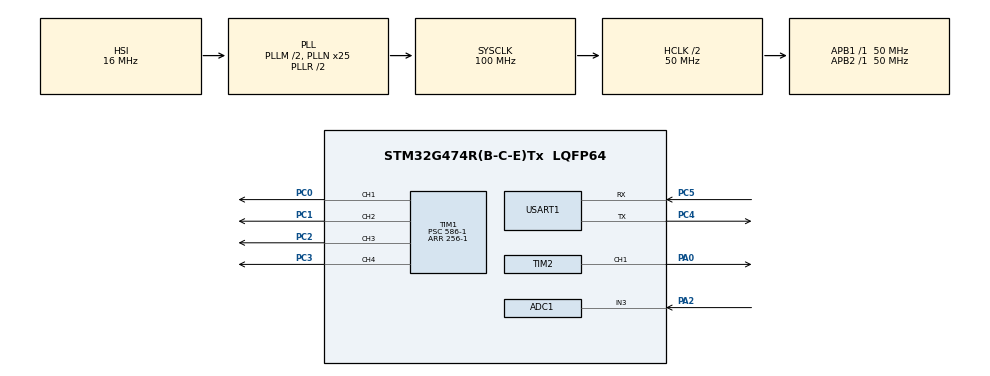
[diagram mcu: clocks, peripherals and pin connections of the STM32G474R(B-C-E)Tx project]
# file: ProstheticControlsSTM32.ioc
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ADC1.Channel-1\#ChannelRegularConversion=ADC_CHANNEL_3
ADC1.ClockPrescaler=ADC_CLOCK_ASYNC_DIV256
ADC1.ContinuousConvMode=ENABLE
ADC1.DMAContinuousRequests=ENABLE
ADC1.NbrOfConversionFlag=1
ADC1.OffsetNumber-1\#ChannelRegularConversion=ADC_OFFSET_NONE
ADC1.Rank-1\#ChannelRegularConversion=1
ADC1.SamplingTime-1\#ChannelRegularConversion=ADC_SAMPLETIME_92CYCLES_5
ADC1.master=1
Dma.ADC1.1.Direction=DMA_PERIPH_TO_MEMORY
Dma.ADC1.1.EventEnable=DISABLE
Dma.ADC1.1.Instance=DMA1_Channel2
Dma.ADC1.1.MemDataAlignment=DMA_MDATAALIGN_HALFWORD
Dma.ADC1.1.MemInc=DMA_MINC_ENABLE
Dma.ADC1.1.Mode=DMA_CIRCULAR
Dma.ADC1.1.PeriphDataAlignment=DMA_PDATAALIGN_HALFWORD
Dma.ADC1.1.PeriphInc=DMA_PINC_DISABLE
Dma.ADC1.1.Polarity=HAL_DMAMUX_REQ_GEN_RISING
Dma.ADC1.1.Priority=DMA_PRIORITY_LOW
Dma.ADC1.1.RequestNumber=1
Dma.ADC1.1.SignalID=NONE
Dma.ADC1.1.SyncEnable=DISABLE
Dma.ADC1.1.SyncPolarity=HAL_DMAMUX_SYNC_NO_EVENT
Dma.ADC1.1.SyncRequestNumber=1
Dma.ADC1.1.SyncSignalID=NONE
Dma.Request0=USART1_RX
Dma.Request1=ADC1
Dma.USART1_RX.0.Direction=DMA_PERIPH_TO_MEMORY
Dma.USART1_RX.0.EventEnable=DISABLE
Dma.USART1_RX.0.Instance=DMA1_Channel3
Dma.USART1_RX.0.MemDataAlignment=DMA_MDATAALIGN_BYTE
Dma.USART1_RX.0.MemInc=DMA_MINC_ENABLE
Dma.USART1_RX.0.Mode=DMA_CIRCULAR
Dma.USART1_RX.0.PeriphDataAlignment=DMA_PDATAALIGN_BYTE
Dma.USART1_RX.0.PeriphInc=DMA_PINC_DISABLE
Dma.USART1_RX.0.Polarity=HAL_DMAMUX_REQ_GEN_RISING
Dma.USART1_RX.0.Priority=DMA_PRIORITY_LOW
Dma.USART1_RX.0.RequestNumber=1
Dma.USART1_RX.0.SignalID=NONE
Dma.USART1_RX.0.SyncEnable=DISABLE
Dma.USART1_RX.0.SyncPolarity=HAL_DMAMUX_SYNC_NO_EVENT
Dma.USART1_RX.0.SyncRequestNumber=1
Dma.USART1_RX.0.SyncSignalID=NONE
FREERTOS.Tasks01=defaultTask,24,1024,StartDefaultTask,Default,NULL,Dynamic,NULL,NULL;RecvTask,24,1024,StartRecvTask,Default,NULL,Dynamic,NULL,NULL
FREERTOS.configTOTAL_HEAP_SIZE=10000
Mcu.Family=STM32G4
Mcu.Name=STM32G474R(B-C-E)Tx
Mcu.Package=LQFP64
NVIC.DMA1_Channel2_IRQn=true\:5\:0\:false\:false\:true\:true\:false\:true\:true
NVIC.DMA1_Channel3_IRQn=true\:5\:0\:false\:false\:true\:false\:false\:true\:true
NVIC.PriorityGroup=NVIC_PRIORITYGROUP_4
NVIC.TIM5_IRQn=true\:0\:0\:false\:false\:true\:false\:false\:true\:true
NVIC.TimeBase=TIM5_IRQn
NVIC.TimeBaseIP=TIM5
NVIC.USART1_IRQn=true\:5\:0\:false\:true\:true\:1\:true\:true\:true\:true
PA0.Signal=S_TIM2_CH1
PA2.Mode=IN3-Single-Ended
PA2.Signal=ADC1_IN3
PC0.Signal=S_TIM1_CH1
PC1.Signal=S_TIM1_CH2
PC2.Signal=S_TIM1_CH3
PC3.Signal=S_TIM1_CH4
PC4.GPIO_PuPd=GPIO_NOPULL
PC4.GPIO_Speed=GPIO_SPEED_FREQ_HIGH
PC4.Mode=Asynchronous
PC4.Signal=USART1_TX
PC5.GPIO_PuPd=GPIO_PULLUP
PC5.GPIO_Speed=GPIO_SPEED_FREQ_HIGH
PC5.Mode=Asynchronous
PC5.Signal=USART1_RX
ProjectManager.HeapSize=0x200
ProjectManager.StackSize=0x400
ProjectManager.TargetToolchain=STM32CubeIDE
RCC.ADC12Freq_Value=100000000
RCC.ADC345Freq_Value=100000000
RCC.AHBCLKDivider=RCC_SYSCLK_DIV2
RCC.AHBFreq_Value=50000000
RCC.APB1Freq_Value=50000000
RCC.APB1TimFreq_Value=50000000
RCC.APB2Freq_Value=50000000
RCC.APB2TimFreq_Value=50000000
RCC.CK48CLockSelection=RCC_USBCLKSOURCE_HSI48
RCC.CortexFreq_Value=50000000
RCC.EXTERNAL_CLOCK_VALUE=12288000
RCC.HCLKFreq_Value=50000000
RCC.HSE_VALUE=8000000
RCC.HSI48_VALUE=48000000
RCC.HSI_VALUE=16000000
RCC.LSE_VALUE=32768
RCC.PLLM=RCC_PLLM_DIV2
RCC.PLLN=25
RCC.PLLP=RCC_PLLP_DIV8
RCC.PLLQ=RCC_PLLQ_DIV8
RCC.SYSCLKFreq_VALUE=100000000
RCC.SYSCLKSource=RCC_SYSCLKSOURCE_PLLCLK
RCC.USBFreq_Value=48000000
RCC.VCOOutputFreq_Value=200000000
SH.S_TIM1_CH1.0=TIM1_CH1,PWM Generation1 CH1
SH.S_TIM1_CH2.0=TIM1_CH2,PWM Generation2 CH2
SH.S_TIM1_CH3.0=TIM1_CH3,PWM Generation3 CH3
SH.S_TIM1_CH4.0=TIM1_CH4,PWM Generation4 CH4
SH.S_TIM2_CH1.0=TIM2_CH1,PWM Generation1 CH1
TIM1.Channel-PWM\ Generation1\ CH1=TIM_CHANNEL_1
TIM1.Channel-PWM\ Generation2\ CH2=TIM_CHANNEL_2
TIM1.Channel-PWM\ Generation3\ CH3=TIM_CHANNEL_3
TIM1.Channel-PWM\ Generation4\ CH4=TIM_CHANNEL_4
TIM1.PeriodNoDither=256-1
TIM1.Prescaler=586-1
TIM2.Channel-PWM\ Generation1\ CH1=TIM_CHANNEL_1
TIM2.PeriodNoDither=256-1
TIM2.Prescaler=586-1
USART1.VirtualMode-Asynchronous=VM_ASYNC
VP_FREERTOS_VS_CMSIS_V2.Mode=CMSIS_V2
VP_SYS_VS_DBSignals.Mode=DisableDeadBatterySignals
VP_SYS_VS_tim5.Mode=TIM5
board=B-G474E-DPOW1

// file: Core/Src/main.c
/* USER CODE BEGIN Header */
/**
  ******************************************************************************
  * @file           : main.c
  * @brief          : Main program body
  ******************************************************************************
  * @attention
  *
  * <h2><center>&copy; Copyright (c) 2021 STMicroelectronics.
  * All rights reserved.</center></h2>
  *
  * This software component is licensed by ST under Ultimate Liberty license
  * SLA0044, the "License"; You may not use this file except in compliance with
  * the License. You may obtain a copy of the License at:
  *                             www.st.com/SLA0044
  *
  ******************************************************************************
  */
/* USER CODE END Header */
#include "main.h"
#include "cmsis_os.h"

/* USER CODE BEGIN Includes */
#include "FreeRTOS.h"
#include <stdio.h>
#include "SERVO.h"
#include <string.h>
#include <stdlib.h>
#include "queue.h"
#include "command_handler.h"
#include "sll.h"
#include "data_processor.h"
/* USER CODE END Includes */

/* USER CODE BEGIN PD */

#define ADC_BUF_LEN 512
#define HAL_UART_MODULE_ENABLED

#define SERVO_Motor1    0

/* USER CODE END PD */

ADC_HandleTypeDef hadc1;
DMA_HandleTypeDef hdma_adc1;

TIM_HandleTypeDef htim1;
TIM_HandleTypeDef htim2;

UART_HandleTypeDef huart1;
DMA_HandleTypeDef hdma_usart1_rx;

/* Definitions for defaultTask */
osThreadId_t defaultTaskHandle;
const osThreadAttr_t defaultTask_attributes = {
  .name = "defaultTask",
  .priority = (osPriority_t) osPriorityNormal,
  .stack_size = 1024 * 4
};
/* Definitions for RecvTask */
osThreadId_t RecvTaskHandle;
const osThreadAttr_t RecvTask_attributes = {
  .name = "RecvTask",
  .priority = (osPriority_t) osPriorityNormal,
  .stack_size = 1024 * 4
};
/* USER CODE BEGIN PV */

uint16_t adc_buf[ADC_BUF_LEN];
QueueHandle_t CommandQueueHandle;
int receive = 0;
/* USER CODE END PV */

void SystemClock_Config(void);
static void MX_GPIO_Init(void);
static void MX_DMA_Init(void);
static void MX_TIM1_Init(void);
static void MX_TIM2_Init(void);
static void MX_USART1_UART_Init(void);
static void MX_ADC1_Init(void);
void StartDefaultTask(void *argument);
void StartRecvTask(void *argument);

static void MX_NVIC_Init(void);
/* USER CODE BEGIN PFP */
static void Run_Servos_Concurrent(void);
static void Run_Servos_Consecutive(void);
static void Handle_Command(char* str);
static unsigned char getServos(char[]);
//static float getPos(char[]);

/* USER CODE END PFP */

/* USER CODE BEGIN 0 */

static void Run_Servos_Consecutive(void){

    int up = 1;
    int min = 50;
    int max = 110;
    int delay = 5;

    HAL_Delay(2000);
    /**** SERVO 1***/
    for (int i=max;i>min; i--) {

        SERVO_RawMove(0,i);
        HAL_Delay(delay);
    }

    for (int i=min;i<max; i++) {

        SERVO_RawMove(0,i);
        HAL_Delay(delay);
    }
    /***************/

    /**** SERVO 2***/
    for (int i=max;i>min; i--) {

        SERVO_RawMove(1,i);
        HAL_Delay(delay);
    }

    for (int i=min;i<max; i++) {

        SERVO_RawMove(1,i);
        HAL_Delay(delay);
    }
    /***************/

    /**** SERVO 3***/
    for (int i=max;i>min; i--) {

        SERVO_RawMove(2,i);
        HAL_Delay(delay);
    }

    for (int i=min;i<max; i++) {

        SERVO_RawMove(2,i);
        HAL_Delay(delay);
    }
    /***************/

    /**** SERVO 4***/
    for (int i=max;i>min; i--) {

        SERVO_RawMove(3,i);
        HAL_Delay(delay);
    }

    for (int i=min;i<max; i++) {

        SERVO_RawMove(3,i);
        HAL_Delay(delay);
    }
    /***************/

    /**** SERVO 5***/
    for (int i=max;i>min; i--) {

        SERVO_RawMove(4,i);
        HAL_Delay(delay);
    }

    for (int i=min;i<max; i++) {

        SERVO_RawMove(4,i);
        HAL_Delay(delay);
    }
    /*************/
    HAL_Delay(3000);
    /**** ALL SERVOS***/

}

static void Run_Servos_Concurrent(void){

    int up = 1;
    int min = 50;
    int max = 110;
    int delay = 30;

    for (int i=min;i<max; i++) {
        SERVO_RawMove(4,i);
        SERVO_RawMove(3,i);
        SERVO_RawMove(2,i);
        SERVO_RawMove(1,i);
        SERVO_RawMove(0,i);
        HAL_Delay(delay);
    }

    for (int i=max;i>min; i--) {
        SERVO_RawMove(4,i);
        SERVO_RawMove(3,i);
        SERVO_RawMove(2,i);
        SERVO_RawMove(1,i);
        SERVO_RawMove(0,i);
        HAL_Delay(delay);
    }

}

static void Handle_Command(char* str){

    char buffer[255] = "";

    //wait for command
    printf("Waiting For Command\r\n");

    printf("\r\n");

    //check command
    if(strstr(buffer, "Consecutive") != NULL){
        int angle = atoi(buffer);
        SERVO_MoveTo(1, angle);
    }
    else{
        printf("Command Not Recognized\r\n");
    }

}

static unsigned char getServos(char cmd[]){
    char servoMask = 0b00000;

    if(strchr(cmd, '1') == NULL || strchr(cmd, '0') == NULL){
        printf("Servo Specifier Not found\n");
        return servoMask;
    }
    char *position_prt = strchr(cmd, '0');
    if(strchr(cmd, '0') < position_prt){
        position_prt = strchr(cmd, '0');
    }
    int index = position_prt - cmd;

    if(cmd[index] == '1'){
        servoMask ^= 0b10000;
    }
    if(cmd[index+1] == '1'){
        servoMask ^= 0b01000;
    }
    if(cmd[index+2] == '1'){
        servoMask ^= 0b00100;
    }
    if(cmd[index+3] == '1'){
        servoMask ^= 0b00010;
    }
    if(cmd[index+4] == '1'){
        servoMask ^= 0b00001;
    }

    return servoMask;
}

//static float getPos(char cmd[]){
//
//    char *position_prt = strchr(cmd, '.');
//    int index = position_prt - cmd;
//
//    char pos[7];
//    memcpy(pos, cmd[index-3], 6);
//    pos[6] = '\0';
//
//    return strtof(pos, NULL);
//}

uint8_t receive_buff[255];
/* USER CODE END 0 */

int main(void)
{

  /* MCU Configuration--------------------------------------------------------*/

  /* Reset of all peripherals, Initializes the Flash interface and the Systick. */
  HAL_Init();

  /* Configure the system clock */
  SystemClock_Config();

  /* Initialize all configured peripherals */
  MX_GPIO_Init();
  MX_DMA_Init();
  MX_TIM1_Init();
  MX_TIM2_Init();
  MX_USART1_UART_Init();
  MX_ADC1_Init();

  /* Initialize interrupts */
  MX_NVIC_Init();
  /* USER CODE BEGIN 2 */

    SERVO_Init(0);
    SERVO_Init(1);
    SERVO_Init(2);
    SERVO_Init(3);
    SERVO_Init(4);
    //SERVO_Init(5);

    CommandHandler_Initialize();
    CalculateThresholds(CLENCHED_VOLTAGE, RESTING_VOLTAGE);
    __HAL_UART_ENABLE_IT(&huart1, UART_IT_IDLE);
    HAL_UART_Receive_DMA(&huart1, (uint8_t*)receive_buff, 255);     //Set up DMA transmission, talk about the data transfer of serial port 1 to recvive_buff,
    HAL_ADC_Start_DMA(&hadc1, (uint32_t*)adc_buf, ADC_BUF_LEN);
    printf("SUCCESSFUL PRINTF 2\r\n");

    //Does buffer already exist?

//TODO: Reenable for processing
//    DataProcessor_Initialize();
//    DataProcessor_ReadData();
//    DataProcessor_ProcessData();
//    DataProcessor_CheckThreshold();
  /* USER CODE END 2 */

  /* Init scheduler */
  osKernelInitialize();

  /* USER CODE BEGIN RTOS_QUEUES */

  CommandQueueHandle = xQueueCreate(20, sizeof(char*));
  /* USER CODE END RTOS_QUEUES */

  /* Create the thread(s) */
  /* creation of defaultTask */
  defaultTaskHandle = osThreadNew(StartDefaultTask, NULL, &defaultTask_attributes);

  /* creation of RecvTask */
  RecvTaskHandle = osThreadNew(StartRecvTask, NULL, &RecvTask_attributes);

  /* Start scheduler */
  osKernelStart();

  /* We should never get here as control is now taken by the scheduler */
  /* Infinite loop */
  /* USER CODE BEGIN WHILE */

//  DataProcessor_ReadData();

  while (1)
  {
    /* USER CODE END WHILE */

  }
}

void SystemClock_Config(void)
{
  RCC_OscInitTypeDef RCC_OscInitStruct = {0};
  RCC_ClkInitTypeDef RCC_ClkInitStruct = {0};
  RCC_PeriphCLKInitTypeDef PeriphClkInit = {0};

  /** Configure the main internal regulator output voltage
  */
  HAL_PWREx_ControlVoltageScaling(PWR_REGULATOR_VOLTAGE_SCALE1);
  /** Initializes the RCC Oscillators according to the specified parameters
  * in the RCC_OscInitTypeDef structure.
  */
  RCC_OscInitStruct.OscillatorType = RCC_OSCILLATORTYPE_HSI;
  RCC_OscInitStruct.HSIState = RCC_HSI_ON;
  RCC_OscInitStruct.HSICalibrationValue = RCC_HSICALIBRATION_DEFAULT;
  RCC_OscInitStruct.PLL.PLLState = RCC_PLL_ON;
  RCC_OscInitStruct.PLL.PLLSource = RCC_PLLSOURCE_HSI;
  RCC_OscInitStruct.PLL.PLLM = RCC_PLLM_DIV2;
  RCC_OscInitStruct.PLL.PLLN = 25;
  RCC_OscInitStruct.PLL.PLLP = RCC_PLLP_DIV8;
  RCC_OscInitStruct.PLL.PLLQ = RCC_PLLQ_DIV8;
  RCC_OscInitStruct.PLL.PLLR = RCC_PLLR_DIV2;
  if (HAL_RCC_OscConfig(&RCC_OscInitStruct) != HAL_OK)
  {
    Error_Handler();
  }
  /** Initializes the CPU, AHB and APB buses clocks
  */
  RCC_ClkInitStruct.ClockType = RCC_CLOCKTYPE_HCLK|RCC_CLOCKTYPE_SYSCLK
                              |RCC_CLOCKTYPE_PCLK1|RCC_CLOCKTYPE_PCLK2;
  RCC_ClkInitStruct.SYSCLKSource = RCC_SYSCLKSOURCE_PLLCLK;
  RCC_ClkInitStruct.AHBCLKDivider = RCC_SYSCLK_DIV2;
  RCC_ClkInitStruct.APB1CLKDivider = RCC_HCLK_DIV1;
  RCC_ClkInitStruct.APB2CLKDivider = RCC_HCLK_DIV1;

  if (HAL_RCC_ClockConfig(&RCC_ClkInitStruct, FLASH_LATENCY_1) != HAL_OK)
  {
    Error_Handler();
  }
  /** Initializes the peripherals clocks
  */
  PeriphClkInit.PeriphClockSelection = RCC_PERIPHCLK_USART1|RCC_PERIPHCLK_ADC12;
  PeriphClkInit.Usart1ClockSelection = RCC_USART1CLKSOURCE_PCLK2;
  PeriphClkInit.Adc12ClockSelection = RCC_ADC12CLKSOURCE_SYSCLK;
  if (HAL_RCCEx_PeriphCLKConfig(&PeriphClkInit) != HAL_OK)
  {
    Error_Handler();
  }
}

/**
  * @brief NVIC Configuration.
  * @retval None
  */
static void MX_NVIC_Init(void)
{
  /* USART1_IRQn interrupt configuration */
  HAL_NVIC_SetPriority(USART1_IRQn, 5, 0);
  HAL_NVIC_EnableIRQ(USART1_IRQn);
}

static void MX_ADC1_Init(void)
{

  ADC_MultiModeTypeDef multimode = {0};
  ADC_ChannelConfTypeDef sConfig = {0};

  /** Common config
  */
  hadc1.Instance = ADC1;
  hadc1.Init.ClockPrescaler = ADC_CLOCK_ASYNC_DIV256;
  hadc1.Init.Resolution = ADC_RESOLUTION_12B;
  hadc1.Init.DataAlign = ADC_DATAALIGN_RIGHT;
  hadc1.Init.GainCompensation = 0;
  hadc1.Init.ScanConvMode = ADC_SCAN_DISABLE;
  hadc1.Init.EOCSelection = ADC_EOC_SINGLE_CONV;
  hadc1.Init.LowPowerAutoWait = DISABLE;
  hadc1.Init.ContinuousConvMode = ENABLE;
  hadc1.Init.NbrOfConversion = 1;
  hadc1.Init.DiscontinuousConvMode = DISABLE;
  hadc1.Init.ExternalTrigConv = ADC_SOFTWARE_START;
  hadc1.Init.ExternalTrigConvEdge = ADC_EXTERNALTRIGCONVEDGE_NONE;
  hadc1.Init.DMAContinuousRequests = ENABLE;
  hadc1.Init.Overrun = ADC_OVR_DATA_PRESERVED;
  hadc1.Init.OversamplingMode = DISABLE;
  if (HAL_ADC_Init(&hadc1) != HAL_OK)
  {
    Error_Handler();
  }
  /** Configure the ADC multi-mode
  */
  multimode.Mode = ADC_MODE_INDEPENDENT;
  if (HAL_ADCEx_MultiModeConfigChannel(&hadc1, &multimode) != HAL_OK)
  {
    Error_Handler();
  }
  /** Configure Regular Channel
  */
  sConfig.Channel = ADC_CHANNEL_3;
  sConfig.Rank = ADC_REGULAR_RANK_1;
  sConfig.SamplingTime = ADC_SAMPLETIME_92CYCLES_5;
  sConfig.SingleDiff = ADC_SINGLE_ENDED;
  sConfig.OffsetNumber = ADC_OFFSET_NONE;
  sConfig.Offset = 0;
  if (HAL_ADC_ConfigChannel(&hadc1, &sConfig) != HAL_OK)
  {
    Error_Handler();
  }

}

static void MX_TIM1_Init(void)
{

  TIM_MasterConfigTypeDef sMasterConfig = {0};
  TIM_OC_InitTypeDef sConfigOC = {0};
  TIM_BreakDeadTimeConfigTypeDef sBreakDeadTimeConfig = {0};

  htim1.Instance = TIM1;
  htim1.Init.Prescaler = 586-1;
  htim1.Init.CounterMode = TIM_COUNTERMODE_UP;
  htim1.Init.Period = 255;
  htim1.Init.ClockDivision = TIM_CLOCKDIVISION_DIV1;
  htim1.Init.RepetitionCounter = 0;
  htim1.Init.AutoReloadPreload = TIM_AUTORELOAD_PRELOAD_DISABLE;
  if (HAL_TIM_PWM_Init(&htim1) != HAL_OK)
  {
    Error_Handler();
  }
  sMasterConfig.MasterOutputTrigger = TIM_TRGO_RESET;
  sMasterConfig.MasterOutputTrigger2 = TIM_TRGO2_RESET;
  sMasterConfig.MasterSlaveMode = TIM_MASTERSLAVEMODE_DISABLE;
  if (HAL_TIMEx_MasterConfigSynchronization(&htim1, &sMasterConfig) != HAL_OK)
  {
    Error_Handler();
  }
  sConfigOC.OCMode = TIM_OCMODE_PWM1;
  sConfigOC.Pulse = 0;
  sConfigOC.OCPolarity = TIM_OCPOLARITY_HIGH;
  sConfigOC.OCNPolarity = TIM_OCNPOLARITY_HIGH;
  sConfigOC.OCFastMode = TIM_OCFAST_DISABLE;
  sConfigOC.OCIdleState = TIM_OCIDLESTATE_RESET;
  sConfigOC.OCNIdleState = TIM_OCNIDLESTATE_RESET;
  if (HAL_TIM_PWM_ConfigChannel(&htim1, &sConfigOC, TIM_CHANNEL_1) != HAL_OK)
  {
    Error_Handler();
  }
  sConfigOC.Pulse = 0;
  if (HAL_TIM_PWM_ConfigChannel(&htim1, &sConfigOC, TIM_CHANNEL_2) != HAL_OK)
  {
    Error_Handler();
  }
  sConfigOC.Pulse = 0;
  if (HAL_TIM_PWM_ConfigChannel(&htim1, &sConfigOC, TIM_CHANNEL_3) != HAL_OK)
  {
    Error_Handler();
  }
  sConfigOC.Pulse = 0;
  sConfigOC.OCNPolarity = TIM_OCNPOLARITY_HIGH;
  if (HAL_TIM_PWM_ConfigChannel(&htim1, &sConfigOC, TIM_CHANNEL_4) != HAL_OK)
  {
    Error_Handler();
  }
  sBreakDeadTimeConfig.OffStateRunMode = TIM_OSSR_DISABLE;
  sBreakDeadTimeConfig.OffStateIDLEMode = TIM_OSSI_DISABLE;
  sBreakDeadTimeConfig.LockLevel = TIM_LOCKLEVEL_OFF;
  sBreakDeadTimeConfig.DeadTime = 0;
  sBreakDeadTimeConfig.BreakState = TIM_BREAK_DISABLE;
  sBreakDeadTimeConfig.BreakPolarity = TIM_BREAKPOLARITY_HIGH;
  sBreakDeadTimeConfig.BreakFilter = 0;
  sBreakDeadTimeConfig.BreakAFMode = TIM_BREAK_AFMODE_INPUT;
  sBreakDeadTimeConfig.Break2State = TIM_BREAK2_DISABLE;
  sBreakDeadTimeConfig.Break2Polarity = TIM_BREAK2POLARITY_HIGH;
  sBreakDeadTimeConfig.Break2Filter = 0;
  sBreakDeadTimeConfig.Break2AFMode = TIM_BREAK_AFMODE_INPUT;
  sBreakDeadTimeConfig.AutomaticOutput = TIM_AUTOMATICOUTPUT_DISABLE;
  if (HAL_TIMEx_ConfigBreakDeadTime(&htim1, &sBreakDeadTimeConfig) != HAL_OK)
  {
    Error_Handler();
  }
  HAL_TIM_MspPostInit(&htim1);

}

static void MX_TIM2_Init(void)
{

  TIM_MasterConfigTypeDef sMasterConfig = {0};
  TIM_OC_InitTypeDef sConfigOC = {0};

  htim2.Instance = TIM2;
  htim2.Init.Prescaler = 586-1;
  htim2.Init.CounterMode = TIM_COUNTERMODE_UP;
  htim2.Init.Period = 255;
  htim2.Init.ClockDivision = TIM_CLOCKDIVISION_DIV1;
  htim2.Init.AutoReloadPreload = TIM_AUTORELOAD_PRELOAD_DISABLE;
  if (HAL_TIM_PWM_Init(&htim2) != HAL_OK)
  {
    Error_Handler();
  }
  sMasterConfig.MasterOutputTrigger = TIM_TRGO_RESET;
  sMasterConfig.MasterSlaveMode = TIM_MASTERSLAVEMODE_DISABLE;
  if (HAL_TIMEx_MasterConfigSynchronization(&htim2, &sMasterConfig) != HAL_OK)
  {
    Error_Handler();
  }
  sConfigOC.OCMode = TIM_OCMODE_PWM1;
  sConfigOC.Pulse = 0;
  sConfigOC.OCPolarity = TIM_OCPOLARITY_HIGH;
  sConfigOC.OCFastMode = TIM_OCFAST_DISABLE;
  if (HAL_TIM_PWM_ConfigChannel(&htim2, &sConfigOC, TIM_CHANNEL_1) != HAL_OK)
  {
    Error_Handler();
  }
  HAL_TIM_MspPostInit(&htim2);

}

static void MX_USART1_UART_Init(void)
{

  huart1.Instance = USART1;
  huart1.Init.BaudRate = 115200;
  huart1.Init.WordLength = UART_WORDLENGTH_8B;
  huart1.Init.StopBits = UART_STOPBITS_1;
  huart1.Init.Parity = UART_PARITY_NONE;
  huart1.Init.Mode = UART_MODE_TX_RX;
  huart1.Init.HwFlowCtl = UART_HWCONTROL_NONE;
  huart1.Init.OverSampling = UART_OVERSAMPLING_16;
  huart1.Init.OneBitSampling = UART_ONE_BIT_SAMPLE_DISABLE;
  huart1.Init.ClockPrescaler = UART_PRESCALER_DIV1;
  huart1.AdvancedInit.AdvFeatureInit = UART_ADVFEATURE_NO_INIT;
  if (HAL_UART_Init(&huart1) != HAL_OK)
  {
    Error_Handler();
  }
  if (HAL_UARTEx_SetTxFifoThreshold(&huart1, UART_TXFIFO_THRESHOLD_1_8) != HAL_OK)
  {
    Error_Handler();
  }
  if (HAL_UARTEx_SetRxFifoThreshold(&huart1, UART_RXFIFO_THRESHOLD_1_8) != HAL_OK)
  {
    Error_Handler();
  }
  if (HAL_UARTEx_DisableFifoMode(&huart1) != HAL_OK)
  {
    Error_Handler();
  }

}

static void MX_DMA_Init(void)
{

  /* DMA controller clock enable */
  __HAL_RCC_DMAMUX1_CLK_ENABLE();
  __HAL_RCC_DMA1_CLK_ENABLE();

  /* DMA interrupt init */
  /* DMA1_Channel2_IRQn interrupt configuration */
  HAL_NVIC_SetPriority(DMA1_Channel2_IRQn, 5, 0);
  HAL_NVIC_EnableIRQ(DMA1_Channel2_IRQn);
  /* DMA1_Channel3_IRQn interrupt configuration */
  HAL_NVIC_SetPriority(DMA1_Channel3_IRQn, 5, 0);
  HAL_NVIC_EnableIRQ(DMA1_Channel3_IRQn);

}

static void MX_GPIO_Init(void)
{

  /* GPIO Ports Clock Enable */
  __HAL_RCC_GPIOC_CLK_ENABLE();
  __HAL_RCC_GPIOA_CLK_ENABLE();

}

/* USER CODE BEGIN 4 */

//buffer is half full
void HAL_ADC_ConvHalfCpltCallback(ADC_HandleTypeDef* hadc){
//    printf("Buffer is half full.\r\n");
    DataProcessor_CheckThreshold(adc_buf, 0, (ADC_BUF_LEN/2)-1);
}

//buffer is full
void HAL_ADC_ConvCpltCallback(ADC_HandleTypeDef* hadc){
    printf("Buffer is full. Last value: %i\r\n", adc_buf[ADC_BUF_LEN-1]);
    DataProcessor_CheckThreshold(adc_buf, (ADC_BUF_LEN/2)-1, ADC_BUF_LEN-1);
}
/* USER CODE END 4 */

void StartDefaultTask(void *argument)
{
  for(;;)
  {
      osDelay(1);
  }
}

void StartRecvTask(void *argument)
{
  /* USER CODE BEGIN StartRecvTask */
    char* str;
    /* Infinite loop */
    for(;;)
    {
        if(receive == 1) {
            if (xQueueReceive(CommandQueueHandle, &str, portMAX_DELAY) == pdPASS) {
                receive = 0;
                printf("Received: %s\n\r", str);
                struct parsed_command ParsedCommand = CommandHandler_ParseCommand(str);
                if(ParsedCommand.commandID != -1){
                 CommandHandler_HandleCommand(ParsedCommand);
                }
                else printf("Could Not Parse Command: %s",str);
            }
        }
        osDelay(1);
    }
  /* USER CODE END StartRecvTask */
}

 /**
  * @brief  Period elapsed callback in non blocking mode
  * @note   This function is called  when TIM5 interrupt took place, inside
  * HAL_TIM_IRQHandler(). It makes a direct call to HAL_IncTick() to increment
  * a global variable "uwTick" used as application time base.
  * @param  htim : TIM handle
  * @retval None
  */
void HAL_TIM_PeriodElapsedCallback(TIM_HandleTypeDef *htim)
{
  if (htim->Instance == TIM5) {
    HAL_IncTick();
  }
}

void Error_Handler(void)
{
  __disable_irq();
  while (1)
  {
  }
}

/************************ (C) COPYRIGHT STMicroelectronics *****END OF FILE****/
